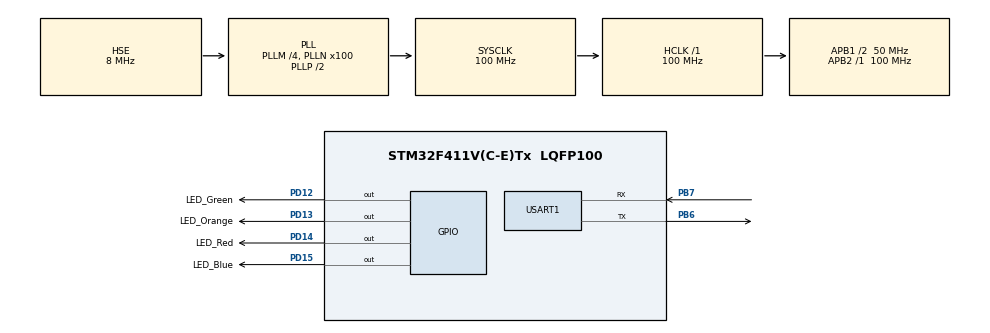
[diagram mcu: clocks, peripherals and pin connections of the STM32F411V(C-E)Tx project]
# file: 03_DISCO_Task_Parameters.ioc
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FREERTOS.Tasks01=defaultTask,24,128,StartDefaultTask,Default,NULL,Dynamic,NULL,NULL
Mcu.Family=STM32F4
Mcu.Name=STM32F411V(C-E)Tx
Mcu.Package=LQFP100
NVIC.PriorityGroup=NVIC_PRIORITYGROUP_4
NVIC.TIM1_UP_TIM10_IRQn=true\:15\:0\:false\:false\:true\:false\:false\:true\:true
NVIC.TimeBase=TIM1_UP_TIM10_IRQn
NVIC.TimeBaseIP=TIM1
PA13.GPIO_Label=SWDIO
PA13.Mode=Serial_Wire
PA13.Signal=SYS_JTMS-SWDIO
PA14.GPIO_Label=SWCLK
PA14.Mode=Serial_Wire
PA14.Signal=SYS_JTCK-SWCLK
PB6.Mode=Asynchronous
PB6.Signal=USART1_TX
PB7.Mode=Asynchronous
PB7.Signal=USART1_RX
PD12.GPIO_Label=LED_Green
PD12.Signal=GPIO_Output
PD13.GPIO_Label=LED_Orange
PD13.Signal=GPIO_Output
PD14.GPIO_Label=LED_Red
PD14.Signal=GPIO_Output
PD15.GPIO_Label=LED_Blue
PD15.Signal=GPIO_Output
PH0\ -\ OSC_IN.GPIO_Label=PH0-OSC_IN
PH0\ -\ OSC_IN.Mode=HSE-External-Oscillator
PH0\ -\ OSC_IN.Signal=RCC_OSC_IN
PH1\ -\ OSC_OUT.GPIO_Label=PH1-OSC_OUT
PH1\ -\ OSC_OUT.Mode=HSE-External-Oscillator
PH1\ -\ OSC_OUT.Signal=RCC_OSC_OUT
ProjectManager.HeapSize=0x200
ProjectManager.StackSize=0x400
ProjectManager.TargetToolchain=STM32CubeIDE
RCC.48MHZClocksFreq_Value=25000000
RCC.AHBFreq_Value=100000000
RCC.APB1CLKDivider=RCC_HCLK_DIV2
RCC.APB1Freq_Value=50000000
RCC.APB1TimFreq_Value=100000000
RCC.APB2Freq_Value=100000000
RCC.APB2TimFreq_Value=100000000
RCC.CortexFreq_Value=100000000
RCC.HCLKFreq_Value=100000000
RCC.HSE_VALUE=8000000
RCC.HSI_VALUE=16000000
RCC.LSE_VALUE=32768
RCC.PLLI2SM=5
RCC.PLLI2SN=200
RCC.PLLM=4
RCC.PLLN=100
RCC.PLLQ=8
RCC.PLLSourceVirtual=RCC_PLLSOURCE_HSE
RCC.SYSCLKFreq_VALUE=100000000
RCC.SYSCLKSource=RCC_SYSCLKSOURCE_PLLCLK
RCC.VCOOutputFreq_Value=200000000
USART1.VirtualMode=VM_ASYNC
VP_FREERTOS_VS_CMSIS_V2.Mode=CMSIS_V2
VP_SYS_VS_tim1.Mode=TIM1
board=STM32F411E-DISCO

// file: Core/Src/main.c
/* USER CODE BEGIN Header */
/**
  ******************************************************************************
  * @file           : main.c
  * @brief          : Main program body
  ******************************************************************************
  * @attention
  *
  * Copyright (c) 2023 STMicroelectronics.
  * All rights reserved.
  *
  * This software is licensed under terms that can be found in the LICENSE file
  * in the root directory of this software component.
  * If no LICENSE file comes with this software, it is provided AS-IS.
  *
  ******************************************************************************
  */
/* USER CODE END Header */
#include "main.h"
#include "cmsis_os.h"

/* USER CODE BEGIN Includes */
#include "stdio.h"
/* USER CODE END Includes */

/* USER CODE BEGIN PTD */
typedef uint32_t TaskProfiler;
/* USER CODE END PTD */

UART_HandleTypeDef huart1;

/* Definitions for defaultTask */
//osThreadId_t defaultTaskHandle;
//const osThreadAttr_t defaultTask_attributes = {
//  .name = "defaultTask",
//  .stack_size = 128 * 4,
//  .priority = (osPriority_t) osPriorityNormal,
//};
/* USER CODE BEGIN PV */
TaskProfiler BlueTaskProfiler;
TaskProfiler RedTaskProfiler;
TaskProfiler GreenTaskProfiler;
TaskProfiler OrangeTaskProfiler;

const uint16_t * blue_led = (uint16_t *) LED_Blue_Pin;
const uint16_t * red_led = (uint16_t *) LED_Red_Pin;
const uint16_t * green_led = (uint16_t *) LED_Green_Pin;
const uint16_t * orange_led = (uint16_t *) LED_Orange_Pin;
/* USER CODE END PV */

void SystemClock_Config(void);
static void MX_GPIO_Init(void);
static void MX_USART1_UART_Init(void);
void StartDefaultTask(void *argument);

/* USER CODE BEGIN PFP */
void vLedControllerTask(void *pvParameters);
//int __io_putchar(int ch);
/* USER CODE END PFP */

int main(void)
{

  /* MCU Configuration--------------------------------------------------------*/

  /* Reset of all peripherals, Initializes the Flash interface and the Systick. */
  HAL_Init();

  /* Configure the system clock */
  SystemClock_Config();

  /* Initialize all configured peripherals */
  MX_GPIO_Init();
  MX_USART1_UART_Init();
  /* USER CODE BEGIN 2 */
  xTaskCreate(vLedControllerTask,
		  	  "Blue Led Controller",
			  100,
			  (void *) blue_led,
			  1,
			  NULL);

  xTaskCreate(vLedControllerTask,
		  	  "Red Led Controller",
			  100,
			  (void *) red_led,
			  1,
			  NULL);

  xTaskCreate(vLedControllerTask,
		  	  "Green Led Controller",
			  100,
			  (void *) green_led,
			  1,
			  NULL);

  xTaskCreate(vLedControllerTask,
		  	  "Orange Led Controller",
			  100,
			  (void *) orange_led,
			  1,
			  NULL);

  vTaskStartScheduler();
  /* USER CODE END 2 */

  /* Init scheduler */
  osKernelInitialize();

  /* Create the thread(s) */
  /* creation of defaultTask */
//  defaultTaskHandle = osThreadNew(StartDefaultTask, NULL, &defaultTask_attributes);

  /* Start scheduler */
  osKernelStart();

  /* We should never get here as control is now taken by the scheduler */
  /* Infinite loop */
  while (1)
  {

  }
}

void SystemClock_Config(void)
{
  RCC_OscInitTypeDef RCC_OscInitStruct = {0};
  RCC_ClkInitTypeDef RCC_ClkInitStruct = {0};

  /** Configure the main internal regulator output voltage
  */
  __HAL_RCC_PWR_CLK_ENABLE();
  __HAL_PWR_VOLTAGESCALING_CONFIG(PWR_REGULATOR_VOLTAGE_SCALE1);

  /** Initializes the RCC Oscillators according to the specified parameters
  * in the RCC_OscInitTypeDef structure.
  */
  RCC_OscInitStruct.OscillatorType = RCC_OSCILLATORTYPE_HSE;
  RCC_OscInitStruct.HSEState = RCC_HSE_ON;
  RCC_OscInitStruct.PLL.PLLState = RCC_PLL_ON;
  RCC_OscInitStruct.PLL.PLLSource = RCC_PLLSOURCE_HSE;
  RCC_OscInitStruct.PLL.PLLM = 4;
  RCC_OscInitStruct.PLL.PLLN = 100;
  RCC_OscInitStruct.PLL.PLLP = RCC_PLLP_DIV2;
  RCC_OscInitStruct.PLL.PLLQ = 8;
  if (HAL_RCC_OscConfig(&RCC_OscInitStruct) != HAL_OK)
  {
    Error_Handler();
  }

  /** Initializes the CPU, AHB and APB buses clocks
  */
  RCC_ClkInitStruct.ClockType = RCC_CLOCKTYPE_HCLK|RCC_CLOCKTYPE_SYSCLK
                              |RCC_CLOCKTYPE_PCLK1|RCC_CLOCKTYPE_PCLK2;
  RCC_ClkInitStruct.SYSCLKSource = RCC_SYSCLKSOURCE_PLLCLK;
  RCC_ClkInitStruct.AHBCLKDivider = RCC_SYSCLK_DIV1;
  RCC_ClkInitStruct.APB1CLKDivider = RCC_HCLK_DIV2;
  RCC_ClkInitStruct.APB2CLKDivider = RCC_HCLK_DIV1;

  if (HAL_RCC_ClockConfig(&RCC_ClkInitStruct, FLASH_LATENCY_3) != HAL_OK)
  {
    Error_Handler();
  }
}

static void MX_USART1_UART_Init(void)
{

  huart1.Instance = USART1;
  huart1.Init.BaudRate = 115200;
  huart1.Init.WordLength = UART_WORDLENGTH_8B;
  huart1.Init.StopBits = UART_STOPBITS_1;
  huart1.Init.Parity = UART_PARITY_NONE;
  huart1.Init.Mode = UART_MODE_TX_RX;
  huart1.Init.HwFlowCtl = UART_HWCONTROL_NONE;
  huart1.Init.OverSampling = UART_OVERSAMPLING_16;
  if (HAL_UART_Init(&huart1) != HAL_OK)
  {
    Error_Handler();
  }

}

static void MX_GPIO_Init(void)
{
  GPIO_InitTypeDef GPIO_InitStruct = {0};

  /* GPIO Ports Clock Enable */
  __HAL_RCC_GPIOH_CLK_ENABLE();
  __HAL_RCC_GPIOD_CLK_ENABLE();
  __HAL_RCC_GPIOA_CLK_ENABLE();
  __HAL_RCC_GPIOB_CLK_ENABLE();

  /*Configure GPIO pin Output Level */
  HAL_GPIO_WritePin(GPIOD, LED_Green_Pin|LED_Orange_Pin|LED_Red_Pin|LED_Blue_Pin, GPIO_PIN_RESET);

  /*Configure GPIO pins : LED_Green_Pin LED_Orange_Pin LED_Red_Pin LED_Blue_Pin */
  GPIO_InitStruct.Pin = LED_Green_Pin|LED_Orange_Pin|LED_Red_Pin|LED_Blue_Pin;
  GPIO_InitStruct.Mode = GPIO_MODE_OUTPUT_PP;
  GPIO_InitStruct.Pull = GPIO_NOPULL;
  GPIO_InitStruct.Speed = GPIO_SPEED_FREQ_LOW;
  HAL_GPIO_Init(GPIOD, &GPIO_InitStruct);

}

/* USER CODE BEGIN 4 */
void vLedControllerTask(void *pvParameters)
{
	uint32_t i;
	while(1)
	{
		BlueTaskProfiler++;
		HAL_GPIO_TogglePin(GPIOD, (uint16_t) pvParameters);
		for (i = 0; i < 300000; i++)
		{
			__NOP();
		}
	}
}

//int __io_putchar(int ch)
//{
//	HAL_UART_Transmit(&huart1, (uint8_t *) &ch, 1, 0xFFFF);
//	return ch;
//}
/* USER CODE END 4 */

void StartDefaultTask(void *argument)
{
  /* USER CODE BEGIN 5 */
//  /* Infinite loop */
//  for(;;)
//  {
//    osDelay(1);
//  }
  /* USER CODE END 5 */
}

void HAL_TIM_PeriodElapsedCallback(TIM_HandleTypeDef *htim)
{
  if (htim->Instance == TIM1) {
    HAL_IncTick();
  }
}

void Error_Handler(void)
{
  __disable_irq();
  while (1)
  {
  }
}
